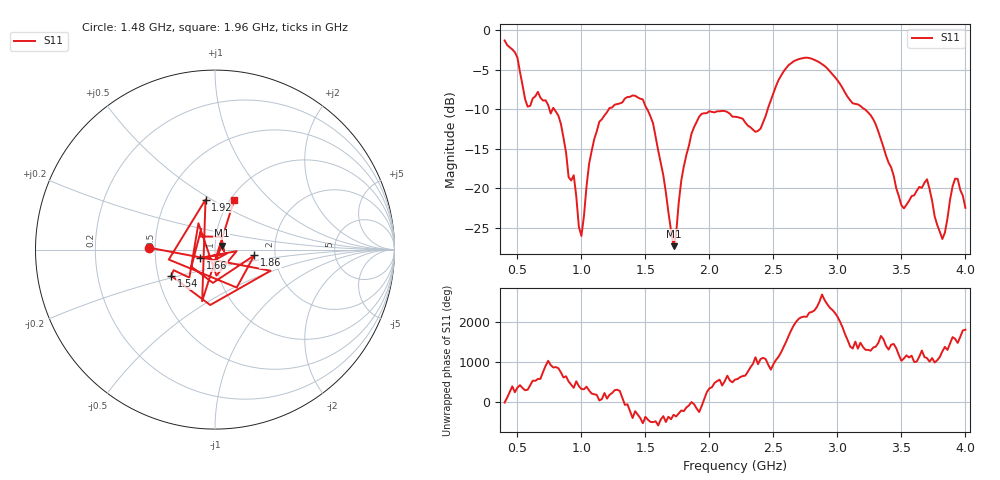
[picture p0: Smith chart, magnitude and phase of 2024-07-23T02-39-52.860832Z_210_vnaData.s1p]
!Created with skrf (http://scikit-rf.org).
# Hz S RI R 50.0
!freq ReS11 ImS11
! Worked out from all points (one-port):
!   181 points, 400 MHz to 4 GHz, reference 50 ohm
!   lowest |S11| = -27.4 dB at 1.72 GHz (marker M1), VSWR 1.09, Z = 53.8 + j2.38 ohm
!   |S11| at or under -10 dB: 788.2 MHz to 1.213 GHz (425.2 MHz wide, 42.5 % of centre); 1.514 GHz to 2.455 GHz (941.4 MHz wide, 47.4 % of centre); 3.213 GHz to end of sweep (the widest 3 of 4)
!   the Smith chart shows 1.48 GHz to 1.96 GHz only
!   S11 on the Smith chart (normalised r, x): 1.48 GHz: 0.46, +0.01; 1.54 GHz: 0.59, -0.19; 1.66 GHz: 0.85, -0.08; 1.86 GHz: 1.56, -0.11; 1.92 GHz: 0.78, +0.47; 1.96 GHz: 1.04, +0.64
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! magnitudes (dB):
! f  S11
! 400 MHz  -1.3
! 500 MHz  -3.4
! 580 MHz  -9.7
! 660 MHz  -7.8
! 860 MHz  -13.6
! 940 MHz  -18.4
! 1 GHz  -26.1
! 1.1 GHz  -13.8
! 1.3 GHz  -9.3
! 1.48 GHz  -8.7
! 1.54 GHz  -10.9
! 1.66 GHz  -20.6
! 1.72 GHz  -27.4
! 1.76 GHz  -21.9
! 1.86 GHz  -13.1
! 1.92 GHz  -10.9
! 1.96 GHz  -10.5
! 2.2 GHz  -10.9
! 2.4 GHz  -12.4
! 2.66 GHz  -3.9
! 3.1 GHz  -8.9
! 3.28 GHz  -11.3
! 3.5 GHz  -22.2
! 3.56 GHz  -21.6
! 3.7 GHz  -18.9
! 3.82 GHz  -26.5
! 3.92 GHz  -18.8
! 4 GHz  -22.5
